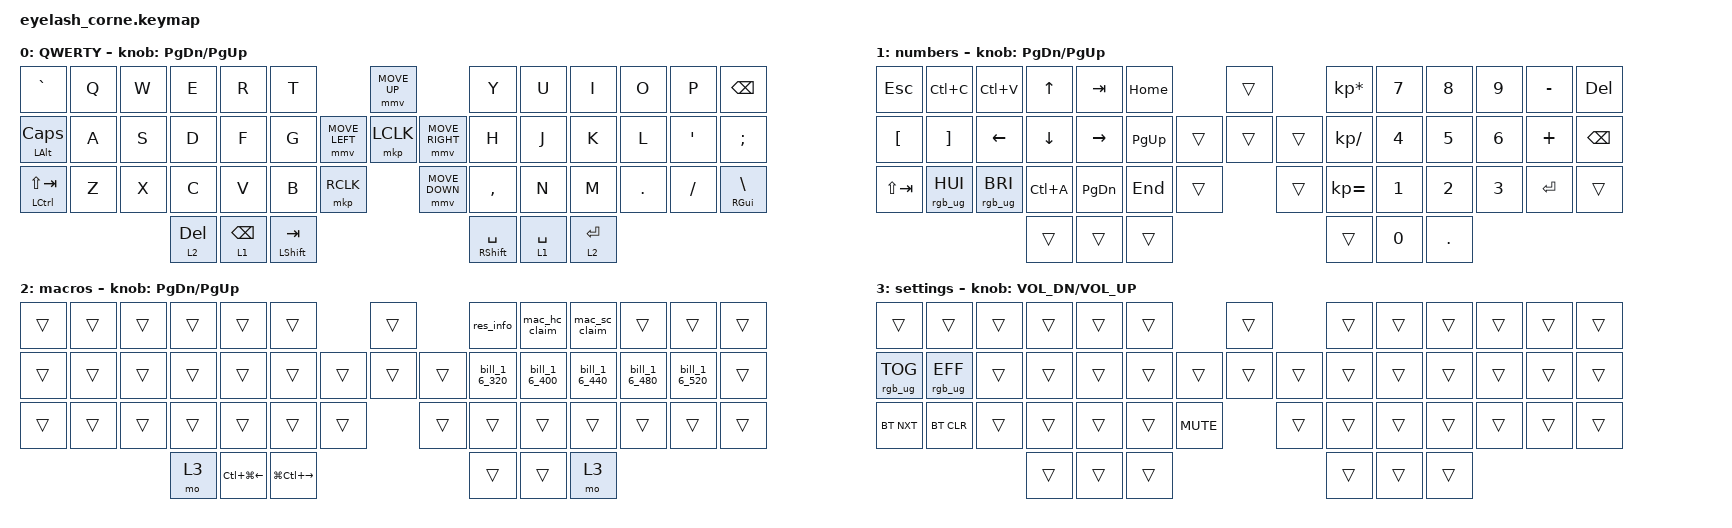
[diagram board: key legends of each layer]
#include <dt-bindings/zmk/mouse.h>
#include <input/processors.dtsi>
#include <behaviors.dtsi>
#include <dt-bindings/zmk/bt.h>
#include <dt-bindings/zmk/keys.h>
#include <dt-bindings/zmk/pointing.h>
#include <dt-bindings/zmk/pointing.h>
#include <dt-bindings/zmk/pointing.h>
#include <dt-bindings/zmk/rgb.h>

/*

   &mmv_input_listener {
       input-processors = <&zip_xy_scaler 2 1>;
   };

   &msc_input_listener {
       input-processors = <&zip_xy_scaler 2 1>;
   };

 */

#define ZMK_MOUSE_DEFAULT_MOVE_VAL 1200  // 600
#define ZMK_MOUSE_DEFAULT_SCRL_VAL 20    // 10

/ {
    behaviors {
        td0: td0 {
            compatible = "zmk,behavior-tap-dance";
            display-name = "Shift/Caps Lock Tap Dance";
            #binding-cells = <0>;
            bindings = <&kp LEFT_SHIFT>, <&kp CAPS>;
        };
    };

    rgb_encoder: rgb_encoder {
        compatible = "zmk,behavior-sensor-rotate";
        #sensor-binding-cells = <0>;
        bindings = <&rgb_ug RGB_BRI>, <&rgb_ug RGB_BRD>;
    };

    scroll_encoder: scroll_encoder {
        compatible = "zmk,behavior-sensor-rotate";
        #sensor-binding-cells = <0>;
        bindings = <&msc SCRL_DOWN>, <&msc SCRL_UP>;

        tap-ms = <30>;
    };

    combos {
        compatible = "zmk,combos";

        BootLeft {
            bindings = <&bootloader>;
            key-positions = <0 5 33>;
        };

        BootRight {
            bindings = <&bootloader>;
            key-positions = <7 36 12>;
        };

        LightToggle {
            bindings = <&rgb_ug RGB_TOG>;
            key-positions = <0 1 2>;
        };

        Sleep {
            bindings = <&kp K_SLEEP>;
            key-positions = <42 13 0>;
        };
    };

    macros {
        res_info: res_info {
            compatible = "zmk,behavior-macro";
            #binding-cells = <0>;
            bindings = <&kp TAB &kp TAB &kp N2 &kp TAB &kp TAB &kp TAB &kp TAB &kp Y &kp TAB &kp Y &kp TAB &kp C &kp TAB &kp TAB &kp N1 &kp N3>;
            label = "RES_INFO";
        };

        mac_hc_claim: mac_hc_claim {
            compatible = "zmk,behavior-macro";
            #binding-cells = <0>;
            bindings = <&kp N9 &kp N9 &kp N5 &kp N0 &kp N9 &kp TAB &kp TAB &kp LS(H) &kp LS(C) &kp TAB &kp TAB &kp TAB &kp TAB &kp N1 &kp TAB &kp TAB &kp TAB &kp TAB>;
            label = "MAC_HC_CLAIM";
        };

        mac_sc_claim: mac_sc_claim {
            compatible = "zmk,behavior-macro";
            #binding-cells = <0>;
            bindings = <&kp N9 &kp N9 &kp N5 &kp N0 &kp N9 &kp TAB &kp TAB &kp LS(S) &kp LS(C) &kp TAB &kp TAB &kp TAB &kp TAB &kp N1 &kp TAB &kp TAB &kp TAB &kp TAB>;
            label = "MAC_SC_CLAIM";
        };
    };

    keymap {
        compatible = "zmk,keymap";

        default_layer {
            display-name = "QWERTY";
            bindings = <
&kp GRAVE              &kp Q  &kp W  &kp E         &kp R            &kp T                                       &mmv MOVE_UP                     &kp Y            &kp U        &kp I        &kp O    &kp P     &kp BSPC
&mt LEFT_ALT CAPSLOCK  &kp A  &kp S  &kp D         &kp F            &kp G                       &mmv MOVE_LEFT  &mkp LCLK       &mmv MOVE_RIGHT  &kp H            &kp J        &kp K        &kp L    &kp APOS  &kp SEMI
&mt LCTRL LS(TAB)      &kp Z  &kp X  &kp C         &kp V            &kp B          &mkp RCLK                    &mmv MOVE_DOWN                   &kp COMMA        &kp N        &kp M        &kp DOT  &kp FSLH  &mt RIGHT_GUI BACKSLASH
                                     &lt 2 DELETE  &lt 1 BACKSPACE  &mt LSHFT TAB                                                                &mt RSHFT SPACE  &lt 1 SPACE  &lt 2 ENTER
            >;

            sensor-bindings = <&inc_dec_kp PAGE_DOWN PAGE_UP>;
        };

        number {
            bindings = <
&kp ESCAPE        &kp LC(C)          &kp LC(V)        &kp UP_ARROW  &kp TAB        &kp HOME                       &trans          &kp KP_ASTERISK  &kp N7  &kp N8   &kp N9  &kp MINUS  &kp DEL
&kp LEFT_BRACKET  &kp RIGHT_BRACKET  &kp LEFT_ARROW   &kp DOWN      &kp RIGHT      &kp PAGE_UP            &trans  &trans  &trans  &kp KP_DIVIDE    &kp N4  &kp N5   &kp N6  &kp PLUS   &kp BACKSPACE
&kp LS(TAB)       &rgb_ug RGB_HUI    &rgb_ug RGB_BRI  &kp LC(A)     &kp PAGE_DOWN  &kp END      &trans            &trans          &kp KP_EQUAL     &kp N1  &kp N2   &kp N3  &kp ENTER  &trans
                                                      &trans        &trans         &trans                                         &trans           &kp N0  &kp DOT
            >;

            sensor-bindings = <&inc_dec_kp PAGE_DOWN PAGE_UP>;
            label = "numbers";
        };

        macros {
            bindings = <
&trans  &trans  &trans  &trans  &trans                  &trans                                     &trans          &res_info      &mac_hc_claim  &mac_sc_claim  &trans         &trans         &trans
&trans  &trans  &trans  &trans  &trans                  &trans                             &trans  &trans  &trans  &bill_1_6_320  &bill_1_6_400  &bill_1_6_440  &bill_1_6_480  &bill_1_6_520  &trans
&trans  &trans  &trans  &trans  &trans                  &trans                   &trans            &trans          &trans         &trans         &trans         &trans         &trans         &trans
                        &mo 3   &kp LC(LG(LEFT_ARROW))  &kp LG(LC(RIGHT_ARROW))                                    &trans         &trans         &mo 3
            >;

            sensor-bindings = <&inc_dec_kp PAGE_DOWN PAGE_UP>;
            label = "macros";
        };

        Settings {
            bindings = <
&trans           &trans           &trans  &trans  &trans  &trans                        &trans          &trans  &trans  &trans  &trans  &trans  &trans
&rgb_ug RGB_TOG  &rgb_ug RGB_EFF  &trans  &trans  &trans  &trans                &trans  &trans  &trans  &trans  &trans  &trans  &trans  &trans  &trans
&bt BT_NXT       &bt BT_CLR       &trans  &trans  &trans  &trans  &kp K_MUTE            &trans          &trans  &trans  &trans  &trans  &trans  &trans
                                          &trans  &trans  &trans                                        &trans  &trans  &trans
            >;

            sensor-bindings = <&inc_dec_kp C_VOL_DN C_VOLUME_UP>;
            label = "settings";
        };
    };
};
